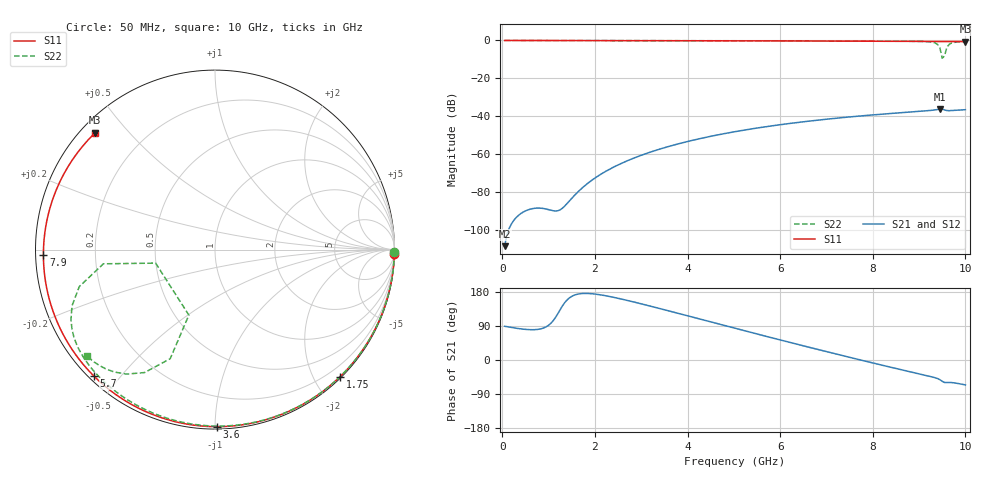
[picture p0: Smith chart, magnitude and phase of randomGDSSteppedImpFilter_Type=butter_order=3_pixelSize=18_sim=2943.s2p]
! freq	dB(S11)	phase(S11)	dB(S12)	phase(S12)
!  dB(S21)	phase(S21)	dB(S22)	phase(S22)
!S-par simulation data
#  GHz  S  DB  R 50
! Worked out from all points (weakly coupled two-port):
!   200 points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, 50 MHz to 10 GHz, reference 50 ohm
!   highest |S21| = -36.29 dB at 9.45 GHz (marker M1); lowest = -108.8 dB at 50 MHz (marker M2)
!   lowest |S11| = -0.6 dB at 10 GHz (marker M3), VSWR 28.66, Z = 2.03 + j20.3 ohm
!   |S11| at or under -10 dB: nowhere
!   |S22| runs from -9.4 to 0.0 dB; largest |S21 - S12| = 0
!   S11 on the Smith chart (normalised r, x): 50 MHz: 0, -86; 1.75 GHz: 0.02, -2.39; 3.6 GHz: 0.01, -1.01; 5.7 GHz: 0.01, -0.43; 7.9 GHz: 0.02, -0.01; 10 GHz: 0.04, +0.41
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0.05  -0.00 -1.3  -108.76 89.1  -108.76 89.1  -0.00 -0.9
0.8  -0.03 -21.1  -88.63 81.4  -88.63 81.4  -0.02 -13.7
1.6  -0.05 -41.6  -80.88 172.9  -80.88 172.9  -0.03 -27.3
1.75  -0.06 -45.4  -77.45 175.6  -77.45 175.6  -0.04 -29.8
2.45  -0.08 -62.6  -66.40 164.2  -66.40 164.2  -0.05 -41.4
3.4  -0.11 -84.8  -57.44 135.8  -57.44 135.8  -0.07 -56.6
3.6  -0.12 -89.3  -56.00 129.5  -56.00 129.5  -0.08 -59.8
5.05  -0.18 -120.5  -48.12 83.0  -48.12 83.0  -0.13 -81.8
5.7  -0.22 -133.8  -45.58 62.4  -45.58 62.4  -0.15 -91.2
6.7  -0.28 -154.0  -42.43 31.3  -42.43 31.3  -0.21 -105.5
7.9  -0.39 -178.3  -39.56 -4.9  -39.56 -4.9  -0.29 -122.5
8.35  -0.43 172.3  -38.68 -18.1  -38.68 -18.1  -0.34 -129.3
9.15  -0.51 155.1  -37.23 -40.9  -37.23 -40.9  -0.61 -146.3
9.35  -0.54 150.6  -36.69 -47.0  -36.69 -47.0  -1.36 -158.6
9.4  -0.54 149.5  -36.49 -49.0  -36.49 -49.0  -2.12 -164.8
9.45  -0.55 148.4  -36.29 -52.0  -36.29 -52.0  -4.06 -172.7
9.5  -0.55 147.2  -36.31 -56.4  -36.31 -56.4  -9.39 -167.2
9.55  -0.56 146.1  -36.74 -59.3  -36.74 -59.3  -8.11 -111.7
9.6  -0.56 144.9  -37.07 -59.4  -37.07 -59.4  -3.65 -112.3
9.65  -0.57 143.8  -37.12 -59.1  -37.12 -59.1  -2.05 -119.8
9.8  -0.59 140.3  -36.90 -61.1  -36.90 -61.1  -0.90 -132.5
10  -0.61 135.7  -36.60 -65.8  -36.60 -65.8  -0.66 -140.1
